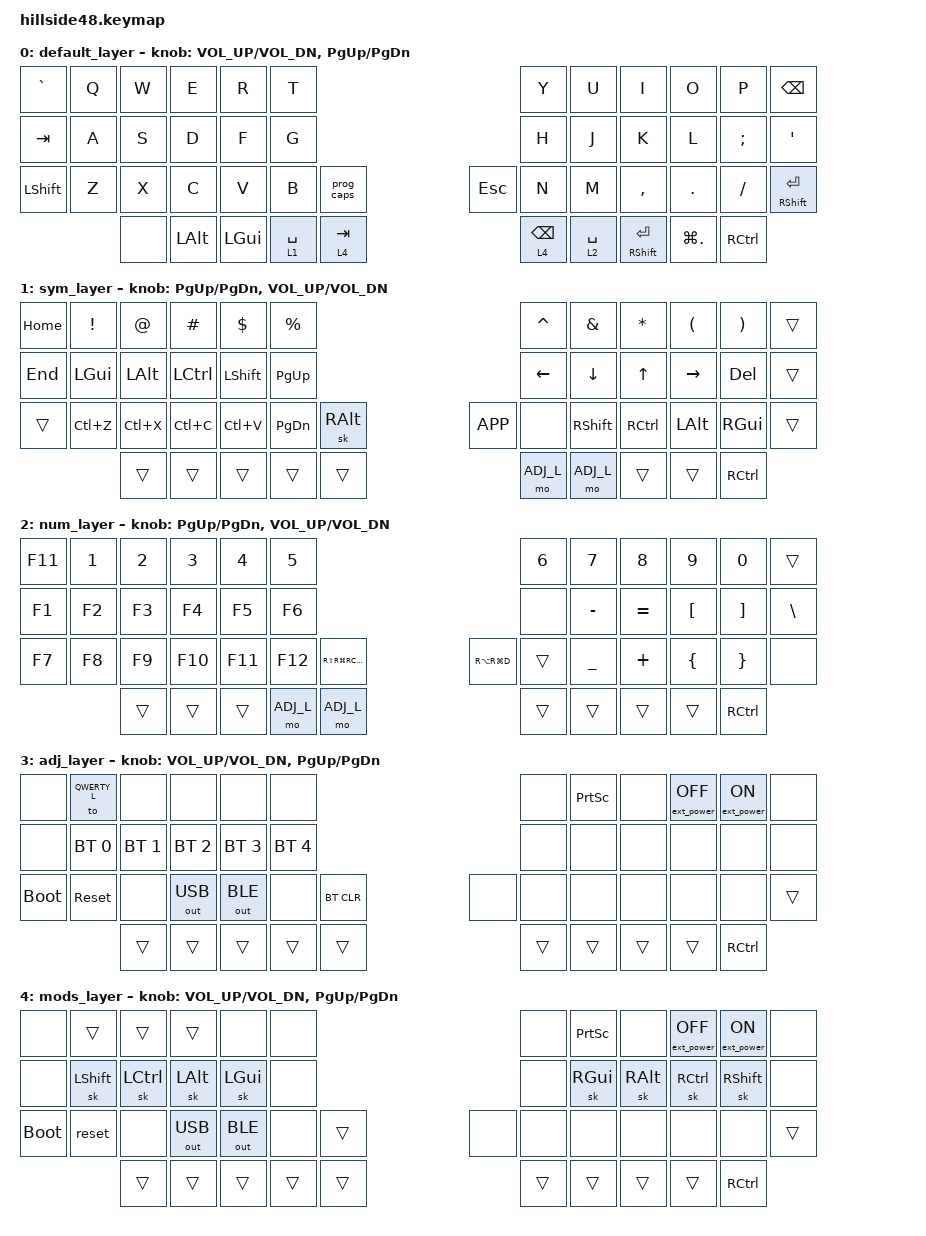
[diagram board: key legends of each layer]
/*
 * Copyright (c) 2022 The ZMK Contributors
 *
 * SPDX-License-Identifier: MIT
 */

#include <behaviors.dtsi>
#include <dt-bindings/zmk/bt.h>
#include <dt-bindings/zmk/ext_power.h>
#include <dt-bindings/zmk/keys.h>
#include <dt-bindings/zmk/outputs.h>

#define QWERTY_L 0
#define SYM_L    1
#define NUM_L    2
#define ADJ_L    3
#define MOD_L    4

#define Undo        LC(Z)
#define Cut         LC(X)
#define Copy        LC(C)
#define Paste       LC(V)
#define R_SCRNSHT   RS(RG(RC(N4)))
#define VSCQF       LG(DOT) //MacOS shortcut for "quick fix" in vscode
#define OSXDOC      RA(RG(D)) //Show dock in OSX

/ {
  behaviors {

        bht: balanced_hold_tap {
            compatible = "zmk,behavior-hold-tap";
            label = "HOLD_TAP";
            #binding-cells = <2>;
            tapping-term-ms = <200>;    // <---[[moderate duration]]
            quick-tap-ms = <0>;
            flavor = "balanced";
            bindings = <&kp>, <&kp>;
        };

        lh_pht: left_hand_positional_hold_tap {
            compatible = "zmk,behavior-hold-tap";
            label = "LEFT_POSITIONAL_HOLD_TAP";
            #binding-cells = <2>;
            flavor = "tap-unless-interrupted";
            tapping-term-ms = <100>;                        // <---[[produces tap if held longer than tapping-term-ms]]
            quick-tap-ms = <200>;
            bindings = <&kp>, <&kp>;
            hold-trigger-key-positions = <5 6 7 8 9 10>;    // <---[[right-hand keys]]
        };

        nht: number_hold_tap {
            compatible = "zmk,behavior-hold-tap";
            label = "NUM_HOLD_TAP";
            #binding-cells = <2>;
            tapping-term-ms = <275>;    // <---[[slightly higher than moderate duration]]
            quick-tap-ms = <0>;
            flavor = "balanced";
            bindings = <&kp>, <&kp>;
        };

        prog_caps: behavior_prog_caps_word {
            compatible = "zmk,behavior-caps-word";
            label = "PROG_CAPS";
            #binding-cells = <0>;
            continue-list = <UNDERSCORE MINUS BACKSPACE>; // Defines that capsword continues after underscore dash and backspace
        };
    }; 
        keymap {
                compatible = "zmk,keymap";

                default_layer {
/* QWERTY
 * -------------------------------------------------------------------------------------------------------------------------------------
 * | `     |   Q   |   W   |   E   |   R   |   T   |-----------------------------------|   Y   |   U   |   I   |   O   |   P   | BKSPC |
 * | TAB   |   A   |   S   |   D   |   F   |   G   |-----------------------------------|   H   |   J   |   K   |   L   |   ;   | ENTER |
 * | SHIFT |   Z   |   X   |   C   |   V   |   B   | CAPS  |-------------------|  ESC  |   N   |   M   |   ,   |   .   |   /   | SHIFT |
 * ----------------| CTRL  |-------|  GUI  |  ALT  | SPACE |  Sym  |---|  Num  | SPACE |  ALT  |  GUI  |-------|   '   |----------------
 */
                        bindings = <
&kp  GRAVE    &kp  Q        &kp  W        &kp  E        &kp  R        &kp  T                                                                         &kp  Y        &kp  U        &kp  I        &kp  O        &kp  P        &kp  BSPC
&kp  TAB      &kp  A        &kp  S        &kp D         &kp  F        &kp  G                                                                         &kp  H        &kp J         &kp K         &kp L         &kp SEMI      &kp  SQT  
&kp  LSHFT    &kp  Z        &kp  X        &kp  C        &kp  V        &kp  B        &prog_caps                                          &kp  ESC     &kp  N        &kp  M        &kp  COMMA    &kp  DOT      &kp  SLASH    &mt  RSHFT ENTER
                            &none                       &kp  LALT     &kp  LGUI     &lt 1 SPACE    &lt 4 TAB              &lt 4 BACKSPACE    &lt 2  SPACE    &mt  RSHFT ENTER     &kp  VSCQF                   &kp  RCTL   
                        >;
			
                        sensor-bindings = <&inc_dec_kp C_VOL_UP C_VOL_DN &inc_dec_kp PG_UP PG_DN>;
                };
		
                sym_layer {
/* SYM
 * -------------------------------------------------------------------------------------------------------------------------------------
 * | HOME  |   !   |   @   |   #   |   $   |   %   |-----------------------------------|   ^   |   &   |   *   |   (   |   )   | BSPC  |
 * | END   |  GUI  |  Alt  | Ctrl  | Shift | Pg Up |-----------------------------------|   -   |   =   |   [   |   ]   |   \   | ENTER |
 * | Shift |  UnDo |  Cut  | Copy  | Paste | Pg Dn |OsAltGr|-------------------| MENU  |   _   |   +   |   {   |   }   |   |   | SHIFT |
 * ----------------|       |-------|       |       |       |       |---| ADJ_L |       |       |       |-------| CTRL  |----------------
 */
                        bindings = <
&kp  HOME     &kp  EXCL     &kp  AT       &kp  HASH     &kp  DOLLAR   &kp  PERCENT                                                                   &kp  CARET    &kp  AMPS     &kp  ASTRK    &kp  LPAR     &kp  RPAR     &trans
&kp  END      &kp  LGUI     &kp  LALT     &kp  LCTRL    &kp  LSHFT    &kp  PG_UP                                                                     &kp   LEFT    &kp   DOWN    &kp   UP      &kp  RIGHT    &kp DEL       &trans
&trans        &kp  Undo     &kp  Cut      &kp  Copy     &kp  Paste    &kp  PG_DN    &sk  RALT                                          &kp  K_APP    &none         &kp   RSHFT   &kp   RCTRL   &kp   LALT    &kp  RGUI     &trans
                            &trans                      &trans        &trans        &trans        &trans                 &mo  ADJ_L    &mo  ADJ_L        &trans        &trans                      &kp  RCTRL    
                        >;
			
                        sensor-bindings = <&inc_dec_kp PG_UP PG_DN &inc_dec_kp C_VOL_UP C_VOL_DN>;
                };
		
                num_layer {
/* NUM   
 * -------------------------------------------------------------------------------------------------------------------------------------
 * | F11   |   1   |   2   |   3   |   4   |   5   |-----------------------------------|   6   |   7   |   8   |   9   |       | BSPC  |
 * | F12   |  F1   |  F2   |  F3   |  F4   |  F5   |-----------------------------------|VOL UP | Shift | Ctrl  | Alt   | Gui   | ENTER |
 * | Shift |  F6   |  F7   |  F8   |  F9   |  F10  |  INS  |-------------------| MUTE  |VOL DN | Left  |  Up   | Down  | Right | DELETE|
 * ----------------|       |-------|       |       |       | ADJ_L |---|       |       |       |       |-------| CTRL  |----------------
 */
                        bindings = <
&kp  F11      &kp  N1       &kp  N2       &kp  N3       &kp  N4       &kp  N5                                                                        &kp  N6  &kp   N7      &kp   N8       &kp   N9      &kp  N0       &trans
&kp  F1       &kp  F2       &kp  F3       &kp  F4       &kp  F5       &kp  F6                                                                        &none    &kp  MINUS    &kp  EQUAL     &kp  LBKT     &kp  RBKT     &kp  BSLH
&kp  F7       &kp  F8       &kp  F9       &kp  F10      &kp F11        &kp  F12       &kp  R_SCRNSHT                                    &kp  OSXDOC   &trans   &kp  UNDER    &kp  PLUS      &kp  LBRC     &kp  RBRC     &none
                            &trans                      &trans        &trans        &mo  ADJ_L        &mo ADJ_L              &trans        &trans        &trans        &trans                      &kp  RCTRL   
                        >;
			
                        sensor-bindings = <&inc_dec_kp PG_UP PG_DN &inc_dec_kp C_VOL_UP C_VOL_DN>;
                };
		
                adj_layer {
/* ADJUST
 * -------------------------------------------------------------------------------------------------------------------------------------
 * |       | QWERTY| DVORAK| COLEMK|       |       |-----------------------------------|       |Prt Scr|       | EP_OFF| EP_ON |       |
 * |       | BT 0  | BT 1  | BT 2  | BT 3  | BT 4  |-----------------------------------|       |       |       |       |       |       |
 * | BOOTL | RESET |       |OUT_USB|OUT_BLE|       |BT CLR |-------------------|       |       |       |       |       |       | SHIFT |
 * ----------------|       |-------|       |       |       |       |---|       |       |       |       |-------| CTRL  |----------------
 */
                        bindings = <
&none         &to  QWERTY_L &none         &none         &none         &none                                                                             &none             &kp PRINTSCREEN    &none         &ext_power EP_OFF  &ext_power EP_ON &none
&none         &bt  BT_SEL 0 &bt  BT_SEL 1 &bt  BT_SEL 2 &bt  BT_SEL 3 &bt  BT_SEL 4                                                                     &none             &none              &none            &none           &none            &none
&bootloader   &sys_reset    &none         &out OUT_USB  &out OUT_BLE  &none         &bt BT_CLR                                         &none            &none             &none              &none            &none           &none            &trans
                            &trans                      &trans        &trans        &trans        &trans                 &trans        &trans           &trans            &trans                              &kp  RCTRL   
                        >;
			
                        sensor-bindings = <&inc_dec_kp C_VOL_UP C_VOL_DN &inc_dec_kp PG_UP PG_DN>;
                };

                                mods_layer {
/* MODS
 * -------------------------------------------------------------------------------------------------------------------------------------
 * |       | QWERTY| DVORAK| COLEMK|       |       |-----------------------------------|       |Prt Scr|       | EP_OFF| EP_ON |       |
 * |       | BT 0  | BT 1  | BT 2  | BT 3  | BT 4  |-----------------------------------|       |       |       |       |       |       |
 * | BOOTL | RESET |       |OUT_USB|OUT_BLE|       |BT CLR |-------------------|       |       |       |       |       |       | SHIFT |
 * ----------------|       |-------|       |       |       |       |---|       |       |       |       |-------| CTRL  |----------------
 */
                        bindings = <
&none         &trans &trans &trans &none         &none                                                                             &none             &kp PRINTSCREEN    &none         &ext_power EP_OFF  &ext_power EP_ON &none
&none         &sk LSHFT     &sk LCTL      &sk LALT      &sk LGUI      &none                                                                             &none             &sk RGUI          &sk RALT      &sk RCTRL           &sk RSHFT            &none
&bootloader   &reset        &none         &out OUT_USB  &out OUT_BLE  &none         &trans                                        &none            &none             &none              &none            &none           &none            &trans
                            &trans                      &trans        &trans        &trans        &trans                 &trans        &trans           &trans            &trans                              &kp  RCTRL   
                        >;
			
                        sensor-bindings = <&inc_dec_kp C_VOL_UP C_VOL_DN &inc_dec_kp PG_UP PG_DN>;
                };
                
        };
};
